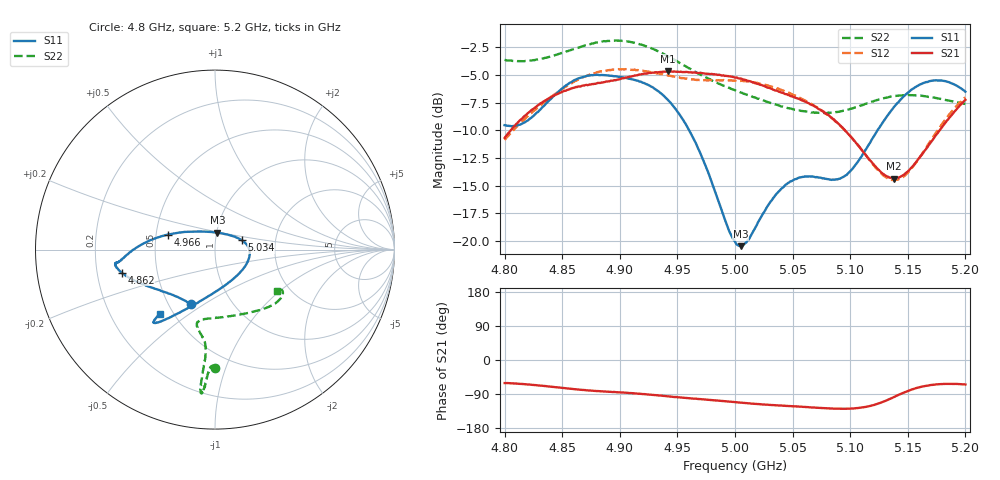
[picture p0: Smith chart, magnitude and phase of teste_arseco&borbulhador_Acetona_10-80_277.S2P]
! Network Analyzer HP8722D
! Hewlett-Packard
! Data name: Linha & Wilkinson
! Saver's name: Rodrigo Anjos
! Comments: Teste da utilização de aquisição
! continua pelo VNA HP8722D
! Time and date: 17/4/2025 16:40
!  Frequency  S11  S21  S12  S22
# HZ  S  MA R 50
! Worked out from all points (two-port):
!   401 points, 4.8 GHz to 5.2 GHz, reference 50 ohm
!   highest |S21| = -4.68 dB at 4.942 GHz (marker M1); lowest = -14.4 dB at 5.138 GHz (marker M2)
!   |S21| within 3 dB of the highest: 4.83 GHz to 5.066 GHz (235.8 MHz wide, 4.77 % of centre); 5.195932 GHz to end of sweep
!   lowest |S11| = -20.5 dB at 5.005 GHz (marker M3), VSWR 1.21, Z = 50.5 + j9.54 ohm
!   |S11| at or under -10 dB: 4.96 GHz to 5.124 GHz (163.6 MHz wide, 3.24 % of centre)
!   |S22| runs from -8.5 to -1.9 dB; largest |S21 - S12| = 0.87
!   S11 on the Smith chart (normalised r, x): 4.8 GHz: 0.64, -0.44; 4.862 GHz: 0.31, -0.11; 4.966 GHz: 0.58, +0.10; 5.034 GHz: 1.34, +0.14; 5.2 GHz: 0.42, -0.39
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4.8e9  0.3333 -113.7  0.2918 -60.9  0.2859 -175.0  0.6577 -90.2
4.819e9  0.3478 -133.7  0.3726 -64.2  0.3613 -173.8  0.6507 -91.8
4.862e9  0.5361 -166.1  0.4961 -77.2  0.5298 -177.2  0.7419 -94.0
4.867e9  0.5483 -168.1  0.5016 -78.9  0.544 -178.1  0.7557 -94.2
4.899e9  0.5504 -172.5  0.5364 -85.4  0.597 175.3  0.8029 -95.5
4.934e9  0.4721 -178.4  0.5784 -93.7  0.5712 171.6  0.715 -95.9
4.942e9  0.4322 178.0  0.5832 -95.9  0.559 171.7  0.6815 -95.7
4.966e9  0.2765 162.6  0.575 -102.1  0.5339 173.7  0.5784 -95.1
5e9  0.09934 99.7  0.5464 -111.2  0.5302 176.0  0.4792 -99.3
5.005e9  0.09463 81.9  0.5414 -112.5  0.528 176.0  0.4676 -100.5
5.012e9  0.1015 59.0  0.5273 -114.4  0.5236 175.6  0.4546 -101.7
5.034e9  0.1579 19.3  0.4806 -119.5  0.4945 174.6  0.4153 -103.6
5.05e9  0.1872 3.1  0.4488 -122.1  0.4575 174.0  0.3937 -99.5
5.067e9  0.1955 -15.1  0.411 -125.2  0.4133 173.5  0.3806 -90.3
5.086e9  0.1888 -45.3  0.3535 -128.4  0.3518 173.7  0.3805 -75.9
5.097e9  0.1985 -67.8  0.3096 -128.6  0.3094 174.7  0.3903 -67.0
5.134e9  0.3784 -116.9  0.1931 -103.2  0.1903 -156.2  0.4473 -43.0
5.138e9  0.4028 -119.2  0.1913 -97.6  0.1882 -149.9  0.4507 -41.2
5.15e9  0.4675 -124.6  0.2058 -82.0  0.2031 -131.6  0.4555 -36.8
5.17e9  0.5282 -129.2  0.279 -66.2  0.2841 -112.3  0.4467 -32.1
5.184e9  0.5241 -130.5  0.3499 -63.0  0.3612 -107.4  0.4323 -31.1
5.2e9  0.4719 -130.8  0.4335 -64.6  0.4454 -106.6  0.4154 -33.5
